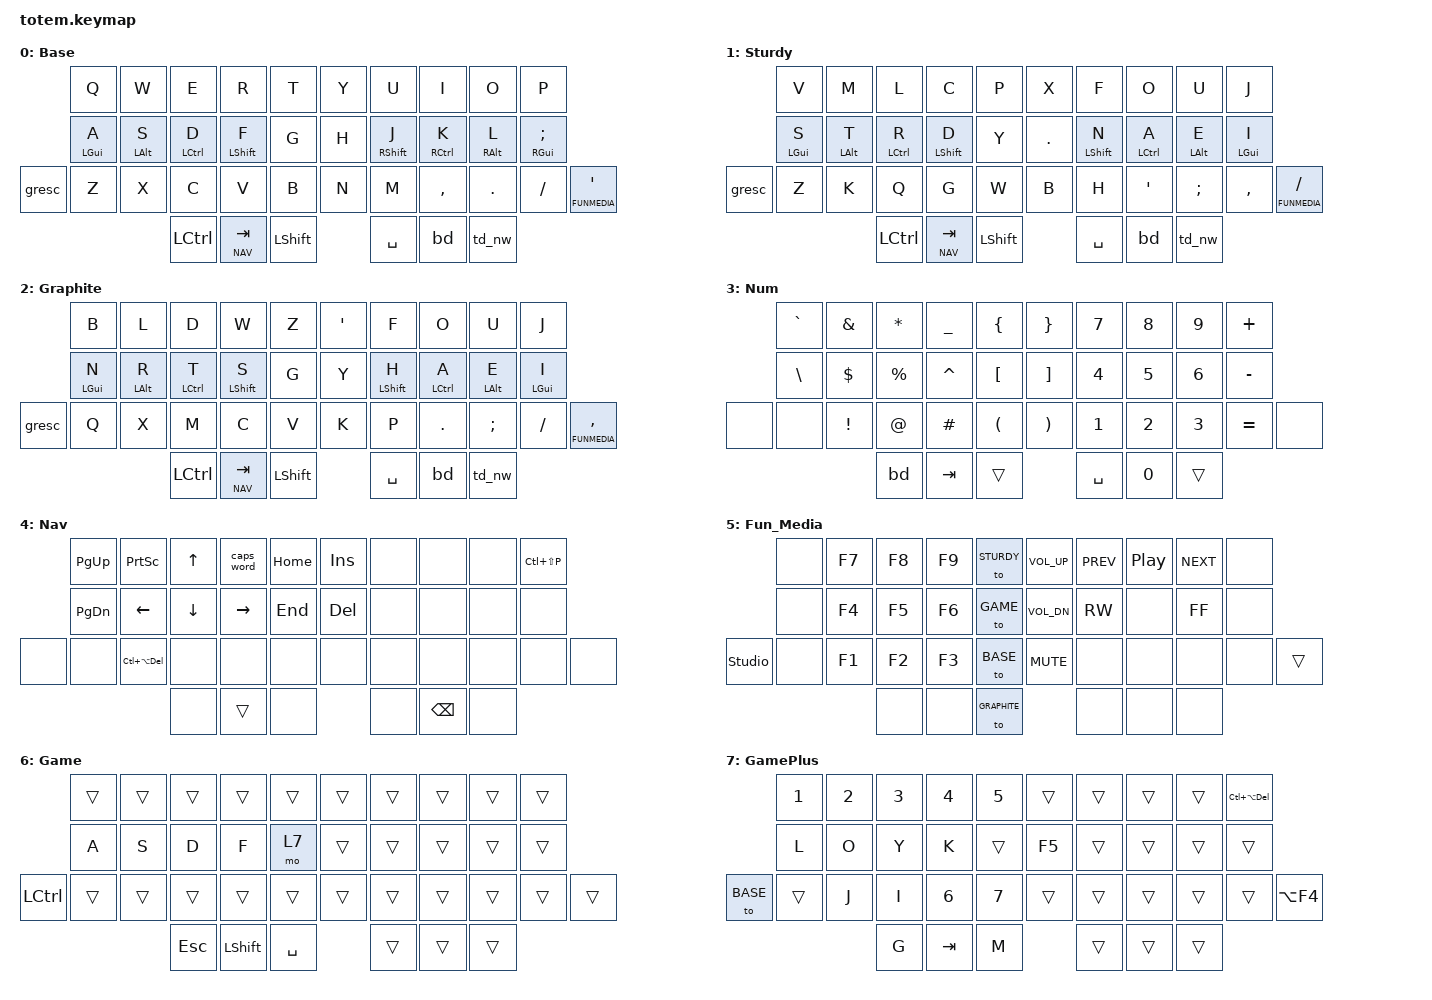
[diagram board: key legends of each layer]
//
//                                                        ▀▀▀▀▀     ▀▀▀▀▀          ▀▀█▀▀
//                                                        ▄▀▀▀▄  ▄  ▄▀▀▀▄  ▄  ▄▀▀▀▄  █  ▄▀▀▀▄
//                                                        █   █  █  █   █  █  █   █  █  █   █
//                                                         ▀▀▀   █   ▀▀▀   █   ▀▀▀   ▀   ▀▀▀
//                                                               █      ▄▄▄█▄▄▄    █   █  
//                                                               ▀      █  █  █     █▄█
//                                                             ▀▀▀▀▀    █  █  █      ▀
//                                                                      ▀  ▀  ▀
//
// ▄▄▄▄▄▄▄▄▄▄▄▄▄▄▄▄▄▄▄▄▄▄▄▄▄▄▄▄▄▄▄▄▄▄▄▄▄▄▄▄▄▄▄▄▄▄▄▄▄▄▄▄▄▄▄▄▄▄▄▄▄▄▄▄▄▄▄▄▄▄▄▄▄▄▄▄▄▄▄▄▄▄▄▄▄▄▄▄▄▄▄▄▄▄▄▄▄▄▄▄▄▄▄▄▄▄▄▄▄▄▄▄▄▄▄▄▄▄▄▄▄▄▄▄▄▄▄▄▄▄▄▄▄▄▄▄▄▄▄▄▄▄▄▄▄▄▄▄▄

#include <behaviors.dtsi>
#include <dt-bindings/zmk/keys.h>
#include "key-labels/totem.h"
#include <behaviors/num_word.dtsi>

// Layers
#define BASE        0
#define STURDY      1
#define GRAPHITE    2
#define NUM         3
#define NAV         4
#define FUNMEDIA    5
#define GAME        6
#define GAMEPLUS    7

// Defaults
#define QUICK_TAP_MS 125
#define TAPPING_TERM_MS 285
#define REQUIRE_PRIOR_IDLE_MS 150
#define FLAVOUR_BALANCED "balanced"
#define TIMEOUT_MS 30
#define COMBO_LAYERS 0 1 2 3
#define TAP_DANCE_TAPPING_TERM_MS 180

#define KEYS_L LT0 LT1 LT2 LT3 LT4 LM0 LM1 LM2 LM3 LM4 LB0 LB1 LB2 LB3 LB4 LB5 // Left-hand keys
#define KEYS_R RT0 RT1 RT2 RT3 RT4 RM0 RM1 RM2 RM3 RM4 RB0 RB1 RB2 RB3 RB4 RB5 // Right-hand keys
#define THUMBS LH2 LH1 LH0 RH0 RH1 RH2    // Thumb keys

// Behaviours
#define HOLD_TAP_BEHAVIOR "zmk,behavior-hold-tap"
#define COMBO_BEHAVIOUR "zmk,combos"
#define MOD_MORPH_BEHAVIOR "zmk,behavior-mod-morph"
#define TAP_DANCE_BEHAVIOR "zmk,behavior-tap-dance"

&mt {
    quick-tap-ms = <QUICK_TAP_MS>;
    global-quick-tap;
    flavor = FLAVOUR_BALANCED;
    tapping-term-ms = <TAPPING_TERM_MS>;
};

&lt {
		quick-tap-ms = <QUICK_TAP_MS>;
		flavor = FLAVOUR_BALANCED;
    tapping-term-ms = <TAPPING_TERM_MS>;
}; 

/ {
    behaviors {
        hml: home_row_mod_left {
            compatible = HOLD_TAP_BEHAVIOR;
            #binding-cells = <2>;
            flavor = FLAVOUR_BALANCED;
            quick-tap-ms = <QUICK_TAP_MS>;
            tapping-term-ms = <TAPPING_TERM_MS>;
            require-prior-idle-ms = <REQUIRE_PRIOR_IDLE_MS>;
            bindings = <&kp>, <&kp>;
            hold-trigger-key-positions = <KEYS_R THUMBS>; // List of keys on the right side of the keyboard
            hold-trigger-on-release;
        };
        hmr: home_row_mod_right {
            compatible = HOLD_TAP_BEHAVIOR;
            #binding-cells = <2>;
            flavor = FLAVOUR_BALANCED;
            quick-tap-ms = <QUICK_TAP_MS>;
            tapping-term-ms = <TAPPING_TERM_MS>;
            require-prior-idle-ms = <REQUIRE_PRIOR_IDLE_MS>;https://www.youtube.com/
            bindings = <&kp>, <&kp>;
            hold-trigger-key-positions = <KEYS_L THUMBS>; // List of keys on the left side of the keyboard
            hold-trigger-on-release;
        };
				bd: backspace_delete {
						compatible = MOD_MORPH_BEHAVIOR;
						#binding-cells = <0>;
						bindings = <&kp BSPC>, <&kp DEL>;
						mods = <MOD_LSFT>;
				};
				td_nw: tap_dance_num_word {
						compatible = TAP_DANCE_BEHAVIOR;
						#binding-cells = <0>;
						tapping-term-ms = <TAP_DANCE_TAPPING_TERM_MS>;
						bindings = <&lt NUM ENTER>, <&num_word NUM>;
				};
    };

		combos { 
			compatible = COMBO_BEHAVIOUR; 
			combo_cut {
				timeout-ms = <TIMEOUT_MS>;
				key-positions = <22 24>; // X and V on QWERTY
				bindings = <&kp LC(X)>;
				layers = <COMBO_LAYERS>;
			};
			combo_copy {
				timeout-ms = <TIMEOUT_MS>;
				key-positions = <22 23>; // X and C on QWERTY
				bindings = <&kp LC(C)>;
				layers = <COMBO_LAYERS>;
			};
			combo_paste {
				timeout-ms = <TIMEOUT_MS>;
				key-positions = <23 24>; // C and V on QWERTY
				bindings = <&kp LC(V)>;
				layers = <COMBO_LAYERS>;
			};
			combo_gui_paste {
				timeout-ms = <TIMEOUT_MS>;
				key-positions = <22 23 24>; // X, C and V on QWERTY
				bindings = <&kp LG(V)>;
				layers = <COMBO_LAYERS>;
			};
			combo_undo {
				timeout-ms = <TIMEOUT_MS>;
				key-positions = <21 22>; // Z and X on QWERTY
				bindings = <&kp LC(Z)>;
				layers = <COMBO_LAYERS>;
			};
			combo_redo {
				timeout-ms = <TIMEOUT_MS>;
				key-positions = <24 25>; // V and B on QWERTY
				bindings = <&kp LC(Y)>;
				layers = <COMBO_LAYERS>;
			};
			combo_find {
				timeout-ms = <TIMEOUT_MS>;
				key-positions = <21 24>; // Z and V on QWERTY
				bindings = <&kp LC(F)>;
				layers = <COMBO_LAYERS>;
			};
			combo_select_all {
				timeout-ms = <TIMEOUT_MS>;
				key-positions = <21 23>; // Z and C on QWERTY
				bindings = <&kp LC(A)>;
				layers = <COMBO_LAYERS>;
			};
			combo_save {
				timeout-ms = <TIMEOUT_MS>;
				key-positions = <21 22 23>; // Z, X and C on QWERTY
				bindings = <&kp LC(S)>;
				layers = <COMBO_LAYERS>;
			};
		};

    keymap {
        compatible = "zmk,keymap";

        BASE {
            label = "Base";
            bindings = <
        &kp Q       &kp W       &kp E         &kp R         &kp T         &kp Y     &kp U        	&kp I        	&kp O       &kp P
        &hml LGUI A	&hml LALT S	&hml LCTRL D	&hml LSHIFT F	&kp G         &kp H     &hmr RSHFT J	&hmr RCTRL K	&hmr RALT L	&hmr RGUI SEMICOLON
&gresc  &kp Z       &kp X       &kp C         &kp V         &kp B         &kp N		  &kp M        	&kp COMMA    	&kp DOT     &kp SLASH           &lt FUNMEDIA APOS
                                &kp LCTRL			&lt NAV TAB   &kp LSHIFT    &kp SPACE &bd  			 		&td_nw
            >;
        };

				STURDY {
            label = "Sturdy";
            bindings = <
        &kp V           &kp M       &kp L         &kp C         &kp P         &kp X   	&kp F        	&kp O        	&kp U       &kp J
        &hml LEFT_GUI S	&hml LALT T	&hml LCTRL R	&hml LSHIFT D	&kp Y         &kp DOT	  &hmr LSHIFT N	&hmr LCTRL A	&hmr LALT E	&hmr LEFT_GUI I
&gresc  &kp Z           &kp K       &kp Q         &kp G         &kp W         &kp B     &kp H         &kp APOS      &kp SEMI    &kp COMMA       &lt FUNMEDIA SLASH
                                		&kp LCTRL			&lt NAV TAB   &kp LSHIFT    &kp SPACE &bd  			 		&td_nw
            >;
        };

        GRAPHITE {
            label = "Graphite";
            bindings = <
        &kp B           &kp L       &kp D         &kp W         &kp Z         &kp APOS	&kp F         &kp O        	&kp U       &kp J
        &hml LEFT_GUI N	&hml LALT R	&hml LCTRL T	&hml LSHIFT S	&kp G         &kp Y     &hmr LSHIFT H	&hmr LCTRL A	&hmr LALT E	&hmr LEFT_GUI I
&gresc  &kp Q           &kp X       &kp M         &kp C         &kp V         &kp K     &kp P         &kp DOT      	&kp SEMI    &kp SLASH       &lt FUNMEDIA COMMA
																		&kp LCTRL			&lt NAV TAB   &kp LSHIFT    &kp SPACE &bd  			 		&td_nw

            >;
        };

        NUM {
            label = "Num";
            bindings = <
       &kp GRAVE  &kp AMPS  &kp ASTRK   &kp UNDER  &kp LBRC    &kp RBRC  	&kp NUMBER_7  &kp NUMBER_8  &kp NUMBER_9  &kp PLUS
       &kp BSLH   &kp DLLR  &kp PERCENT	&kp CARET  &kp LBKT    &kp RBKT  	&kp NUMBER_4  &kp NUMBER_5  &kp NUMBER_6  &kp MINUS
&none  &none      &kp EXCL  &kp AT      &kp HASH   &kp LPAR    &kp RPAR  	&kp NUMBER_1  &kp NUMBER_2  &kp NUMBER_3  &kp EQUAL  &none
                            &bd        	&kp TAB    &trans      &kp SPACE	&kp NUMBER_0	&trans
            >;
        };

        NAV {
            bindings = <
       &kp PG_UP  &kp PSCRN        &kp UP    &caps_word  &kp HOME    &kp INS  &none     &none  &none  &kp LC(LS(P))
       &kp PG_DN  &kp LEFT         &kp DOWN  &kp RIGHT   &kp END     &kp DEL  &none     &none  &none  &none
&none  &none      &kp LC(LA(DEL))  &none     &none       &none       &none    &none     &none  &none  &none  &none
                                   &none     &trans      &none       &none    &kp BSPC  &none
            >;

            label = "Nav";
        };

				FUNMEDIA {
						label = "Fun_Media";
						bindings = <
                &none  &kp F7  &kp F8  &kp F9  &to STURDY     &kp C_VOL_UP  &kp C_PREV  &kp C_PP  &kp C_NEXT  &none
                &none  &kp F4  &kp F5  &kp F6  &to GAME    		&kp C_VOL_DN  &kp C_RW    &none     &kp C_FF    &none
&studio_unlock  &none  &kp F1  &kp F2  &kp F3  &to BASE    		&kp C_MUTE    &none       &none     &none       &none	 &trans
                               &none   &none   &to GRAPHITE		&none  				&none  			&none
            >;
        };

        GAME {
            bindings = <
           &trans  &trans  &trans   &trans      &trans       &trans  &trans  &trans  &trans  &trans
           &kp A   &kp S   &kp D    &kp F       &mo 7        &trans  &trans  &trans  &trans  &trans
&kp LCTRL  &trans  &trans  &trans   &trans      &trans       &trans  &trans  &trans  &trans  &trans  &trans
                           &kp ESC  &kp LSHIFT  &kp SPACE    &trans  &trans  &trans
            >;

            label = "Game";
        };

        GAMEPLUS {
            bindings = <
       		&kp NUMBER_1  &kp NUMBER_2  &kp NUMBER_3  &kp NUMBER_4  &kp NUMBER_5    &trans  &trans  &trans  &trans  &kp LC(LA(DEL))
       		&kp L         &kp O         &kp Y         &kp K         &trans          &kp F5  &trans  &trans  &trans  &trans
&to BASE	&trans     		&kp J         &kp I         &kp NUMBER_6  &kp NUMBER_7    &trans  &trans  &trans  &trans  &trans           &kp LA(F4)
                                   		&kp G         &kp TAB       &kp M           &trans  &trans  &trans
            >;

            label = "GamePlus";
        };
    };
};
